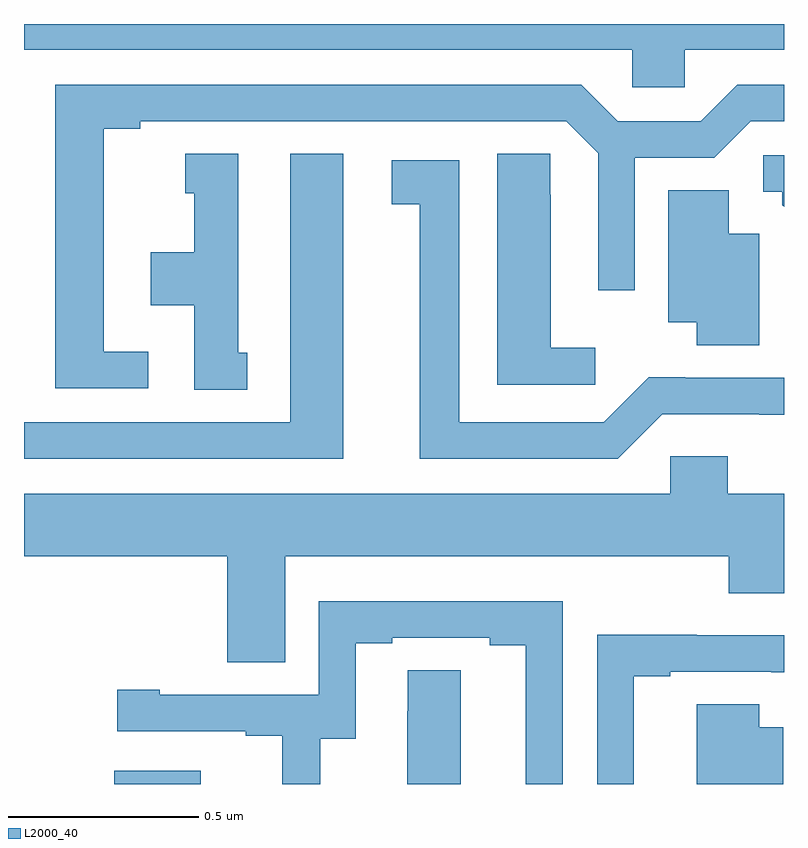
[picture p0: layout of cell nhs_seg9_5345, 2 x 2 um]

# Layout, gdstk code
import gdstk
lib = gdstk.Library(unit=1e-6, precision=1e-09)
def R(c, l, rs):  # rectangles x0, y0, x1, y1
    for r in rs: c.add(gdstk.rectangle(r[:2], r[2:], *l))
def P(c, l, *ps):  # polygons
    for p in ps: c.add(gdstk.Polygon(p, *l))
L2000_40 = (2000, 40)

nhs_seg9_5345 = lib.new_cell('nhs_seg9_5345')
R(nhs_seg9_5345, L2000_40, [(178.238,1182.5,178.465,1182.535)])
P(nhs_seg9_5345, L2000_40, [(179.739,1184.432),(180,1184.432),(180,1184.5),(178,1184.5),(178,1184.432),(179.601,1184.432),(179.601,1184.334),(179.739,1184.334)],
  [(178.327,1183.638),(178.21,1183.638),(178.21,1184.224),(178.306,1184.224),(178.306,1184.244),(179.427,1184.244),(179.511,1184.16),(179.511,1183.8),(179.607,1183.8),(179.607,1184.148),(179.817,1184.148),(179.913,1184.244),(180,1184.244),(180,1184.34),(179.877,1184.34),(179.781,1184.244),(179.563,1184.244),(179.467,1184.34),(178.082,1184.34),(178.082,1183.542),(178.327,1183.542)],
  [(179.503,1183.648),(179.386,1183.648),(179.386,1184.051),(179.385,1184.051),(179.385,1184.159),(179.246,1184.159),(179.246,1183.551),(179.503,1183.551)],
  [(178.588,1183.635),(178.564,1183.635),(178.564,1184.158),(178.424,1184.158),(178.424,1184.055),(178.448,1184.055),(178.448,1183.9),(178.334,1183.9),(178.334,1183.76),(178.448,1183.76),(178.448,1183.537),(178.588,1183.537)],
  [(178.84,1184.158),(178.7,1184.158),(178.7,1183.452),(178,1183.452),(178,1183.356),(178.84,1183.356)],
  [(180,1184.154),(179.946,1184.154),(179.946,1184.058),(179.996,1184.058),(179.996,1184.023),(180,1184.019)],
  [(179.679,1183.473),(179.935,1183.473),(179.935,1183.472),(180,1183.472),(180,1183.569),(179.74,1183.569),(179.74,1183.57),(179.644,1183.57),(179.526,1183.452),(179.146,1183.452),(179.146,1184.142),(178.968,1184.142),(178.968,1184.026),(179.042,1184.026),(179.042,1183.356),(179.562,1183.356)],
  [(179.935,1183.948),(179.854,1183.948),(179.854,1184.063),(179.696,1184.063),(179.696,1183.715),(179.771,1183.715),(179.771,1183.654),(179.935,1183.654)],
  [(178,1183.1),(178.535,1183.1),(178.535,1182.82),(178.687,1182.82),(178.687,1183.1),(179.855,1183.1),(179.855,1183.002),(180,1183.002),(180,1183.264),(179.852,1183.264),(179.852,1183.362),(179.7,1183.362),(179.7,1183.264),(178,1183.264)],
  [(178.779,1182.619),(178.873,1182.619),(178.873,1182.87),(178.969,1182.87),(178.969,1182.885),(179.225,1182.885),(179.225,1182.865),(179.321,1182.865),(179.321,1182.5),(179.418,1182.5),(179.418,1182.981),(178.776,1182.981),(178.776,1182.735),(178.357,1182.735),(178.357,1182.748),(178.245,1182.748),(178.245,1182.639),(178.583,1182.639),(178.583,1182.627),(178.679,1182.627),(178.679,1182.5),(178.779,1182.5)],
  [(179.605,1182.783),(179.701,1182.783),(179.701,1182.795),(179.966,1182.795),(179.966,1182.794),(180,1182.794),(180,1182.891),(179.771,1182.891),(179.771,1182.893),(179.508,1182.893),(179.508,1182.5),(179.605,1182.5)],
  [(179.149,1182.8),(179.01,1182.8),(179.01,1182.692),(179.009,1182.692),(179.009,1182.5),(179.149,1182.5)],
  [(179.998,1182.649),(179.935,1182.649),(179.935,1182.71),(179.771,1182.71),(179.771,1182.5),(179.998,1182.5)])

lib.write_gds('nhs_seg9_5345.gds')
